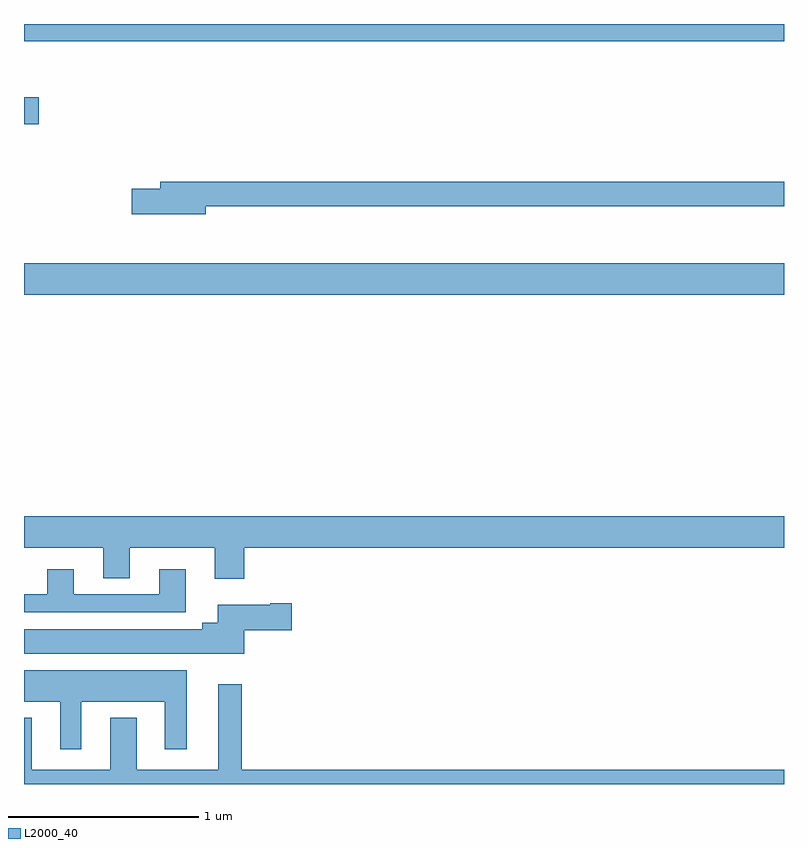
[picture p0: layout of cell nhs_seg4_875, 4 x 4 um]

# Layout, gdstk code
import gdstk
lib = gdstk.Library(unit=1e-6, precision=1e-09)
def R(c, l, rs):  # rectangles x0, y0, x1, y1
    for r in rs: c.add(gdstk.rectangle(r[:2], r[2:], *l))
def P(c, l, *ps):  # polygons
    for p in ps: c.add(gdstk.Polygon(p, *l))
L2000_40 = (2000, 40)

nhs_seg4_875 = lib.new_cell('nhs_seg4_875')
R(nhs_seg4_875, L2000_40, [(155,807.476,159,807.64), (155,808.373,155.077,808.515), (155,808.808,159,808.9)])
P(nhs_seg4_875, L2000_40, [(155.956,807.942),(159,807.942),(159,808.07),(155.717,808.07),(155.717,808.034),(155.568,808.034),(155.568,807.899),(155.956,807.899)],
  [(156.158,806.144),(159,806.144),(159,806.308),(155,806.308),(155,806.144),(155.417,806.144),(155.417,805.984),(155.557,805.984),(155.557,806.144),(156.005,806.144),(156.005,805.98),(156.158,805.98)],
  [(155.851,806.029),(155.711,806.029),(155.711,805.899),(155.263,805.899),(155.263,806.029),(155.123,806.029),(155.123,805.899),(155,805.899),(155,805.803),(155.851,805.803)],
  [(156.16,805.709),(156.409,805.709),(156.409,805.851),(156.296,805.851),(156.296,805.843),(156.02,805.843),(156.02,805.75),(155.939,805.75),(155.939,805.714),(155,805.714),(155,805.586),(156.16,805.586)],
  [(155.302,805.334),(155.741,805.334),(155.741,805.083),(155.857,805.083),(155.857,805.498),(155,805.498),(155,805.334),(155.192,805.334),(155.192,805.083),(155.302,805.083)],
  [(159,804.976),(156.145,804.976),(156.145,805.426),(156.023,805.426),(156.023,804.976),(155.593,804.976),(155.593,805.249),(155.453,805.249),(155.453,804.976),(155.041,804.976),(155.041,805.249),(155,805.249),(155,804.9),(159,804.9)])

lib.write_gds('nhs_seg4_875.gds')
